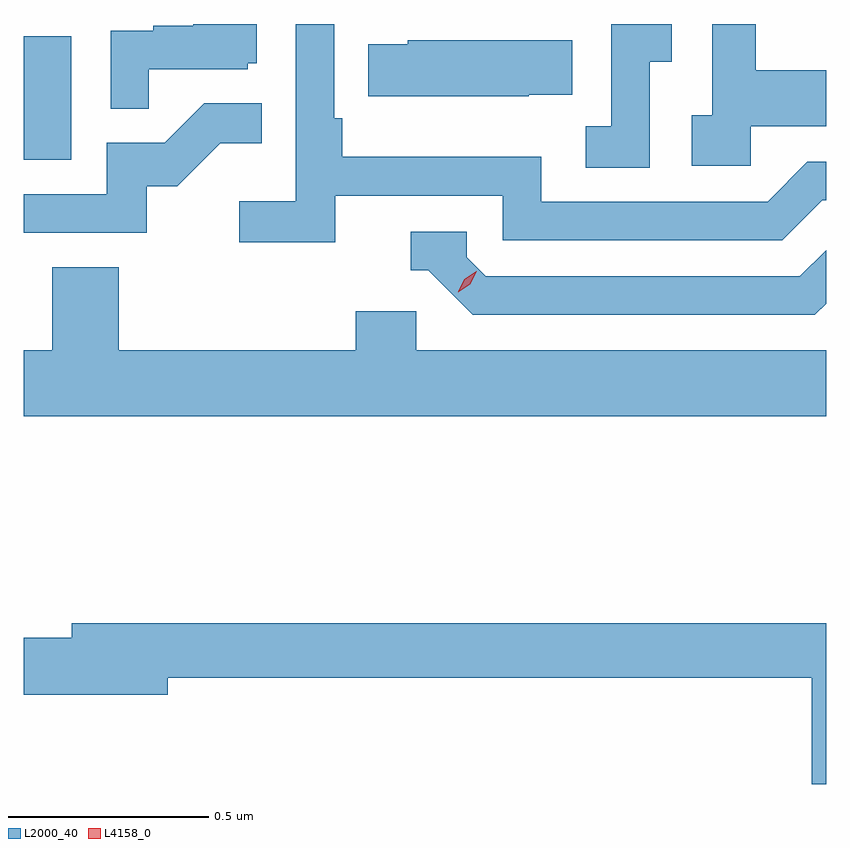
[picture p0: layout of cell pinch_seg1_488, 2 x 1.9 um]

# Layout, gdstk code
import gdstk
lib = gdstk.Library(unit=1e-6, precision=1e-09)
def R(c, l, rs):  # rectangles x0, y0, x1, y1
    for r in rs: c.add(gdstk.rectangle(r[:2], r[2:], *l))
def P(c, l, *ps):  # polygons
    for p in ps: c.add(gdstk.Polygon(p, *l))
L2000_40 = (2000, 40)
L4158_0 = (4158, 0)

pinch_seg1_488 = lib.new_cell('pinch_seg1_488')
R(pinch_seg1_488, L2000_40, [(1108.2,525.732,1108.318,526.039)])
P(pinch_seg1_488, L2000_40, [(1108.976,525.642),(1109.394,525.642),(1109.394,525.531),(1110.091,525.531),(1110.19,525.63),(1110.2,525.63),(1110.2,525.726),(1110.153,525.726),(1110.054,525.627),(1109.49,525.627),(1109.49,525.739),(1108.994,525.739),(1108.994,525.835),(1108.974,525.835),(1108.974,526.07),(1108.878,526.07),(1108.878,525.628),(1108.737,525.628),(1108.737,525.526),(1108.976,525.526)],
  [(1110.012,525.815),(1110.2,525.815),(1110.2,525.955),(1110.025,525.955),(1110.025,526.07),(1109.916,526.07),(1109.916,525.842),(1109.865,525.842),(1109.865,525.717),(1110.012,525.717)],
  [(1109.76,525.976),(1109.815,525.976),(1109.815,526.07),(1109.664,526.07),(1109.664,525.815),(1109.601,525.815),(1109.601,525.712),(1109.76,525.712)],
  [(1108.511,525.957),(1108.758,525.957),(1108.758,525.972),(1108.78,525.972),(1108.78,526.07),(1108.622,526.07),(1108.622,526.066),(1108.523,526.066),(1108.523,526.053),(1108.416,526.053),(1108.416,525.859),(1108.511,525.859)],
  [(1109.459,525.893),(1109.567,525.893),(1109.567,526.03),(1109.157,526.03),(1109.157,526.02),(1109.059,526.02),(1109.059,525.89),(1109.459,525.89)],
  [(1108.506,525.666),(1108.582,525.666),(1108.689,525.773),(1108.793,525.773),(1108.793,525.872),(1108.649,525.872),(1108.551,525.774),(1108.407,525.774),(1108.407,525.645),(1108.2,525.645),(1108.2,525.549),(1108.506,525.549)],
  [(1110.2,525.373),(1110.2,525.506),(1110.135,525.441),(1109.352,525.441),(1109.304,525.489),(1109.304,525.552),(1109.165,525.552),(1109.165,525.456),(1109.208,525.456),(1109.319,525.345),(1110.172,525.345)],
  [(1110.2,525.256),(1109.178,525.256),(1109.178,525.354),(1109.027,525.354),(1109.027,525.256),(1108.436,525.256),(1108.436,525.464),(1108.271,525.464),(1108.271,525.256),(1108.2,525.256),(1108.2,525.092),(1110.2,525.092)],
  [(1110.2,524.576),(1108.319,524.576),(1108.319,524.54),(1108.2,524.54),(1108.2,524.398),(1108.558,524.398),(1108.558,524.44),(1110.164,524.44),(1110.164,524.175),(1110.2,524.175)])
P(pinch_seg1_488, L4158_0, [(1109.283,525.401),(1109.283,525.402),(1109.298,525.434),(1109.328,525.454),(1109.329,525.454),(1109.329,525.454),(1109.313,525.421),(1109.283,525.401)])

lib.write_gds('pinch_seg1_488.gds')
